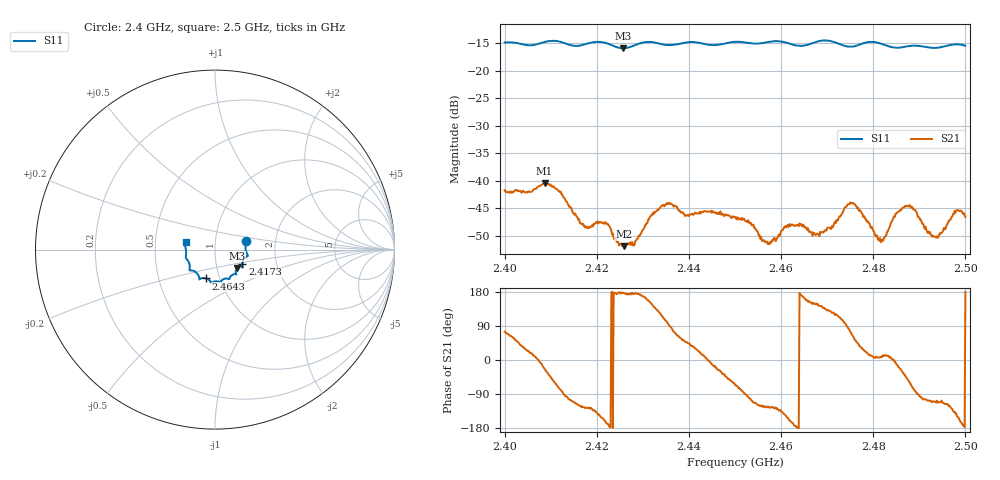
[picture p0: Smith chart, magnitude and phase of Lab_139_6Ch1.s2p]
# Hz S RI R 50
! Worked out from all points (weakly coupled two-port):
!   601 points, 2.4 GHz to 2.5 GHz, reference 50 ohm
!   highest |S21| = -40.48 dB at 2.4087 GHz (marker M1); lowest = -51.9 dB at 2.4258 GHz (marker M2)
!   lowest |S11| = -15.9 dB at 2.4257 GHz (marker M3), VSWR 1.38, Z = 62.4 - j13.1 ohm
!   |S11| at or under -10 dB: start of sweep to end of sweep
!   S12 and S22 are empty: the file has one direction only
!   S11 on the Smith chart (normalised r, x): 2.4 GHz: 1.41, +0.14; 2.4173 GHz: 1.34, -0.23; 2.4643 GHz: 0.86, -0.28; 2.5 GHz: 0.72, +0.06
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2.4e9  0.1735 0.0496  0.00214 0.00793  0 0  0 0
2.408667e9  0.1805 -0.026  0.0087 -0.00371  0 0  0 0
2.412e9  0.18 -0.0364  0.00176 -0.00767  0 0  0 0
2.416667e9  0.1529 -0.0746  -0.00226 -0.00333  0 0  0 0
2.417333e9  0.1524 -0.0821  -0.00224 -0.0032  0 0  0 0
2.422167e9  0.1505 -0.0943  -0.00396 -0.000905  0 0  0 0
2.425667e9  0.1226 -0.1024  -0.00262 0.000102  0 0  0 0
2.425833e9  0.1216 -0.1036  -0.00253 0.000163  0 0  0 0
2.428333e9  0.1153 -0.1266  -0.00279 0.000168  0 0  0 0
2.433333e9  0.1126 -0.1367  -0.00333 0.00425  0 0  0 0
2.45e9  0.0297 -0.1807  0.00198 -0.00425  0 0  0 0
2.457167e9  -0.0146 -0.1815  -0.00152 -0.00216  0 0  0 0
2.464333e9  -0.0502 -0.1604  -0.00398 0.000604  0 0  0 0
2.466667e9  -0.0763 -0.1597  -0.00298 0.00164  0 0  0 0
2.470833e9  -0.0871 -0.1638  -0.00219 0.00289  0 0  0 0
2.475333e9  -0.1098 -0.1238  0.0024 0.00582  0 0  0 0
2.4815e9  -0.1419 -0.1062  0.00298 0.000366  0 0  0 0
2.483333e9  -0.1408 -0.0895  0.00356 0.000674  0 0  0 0
2.487333e9  -0.1574 -0.0545  0.00386 -0.00444  0 0  0 0
2.4935e9  -0.1609 -0.00736  -0.00106 -0.00288  0 0  0 0
2.497833e9  -0.1711 0.0307  -0.0038 -0.00343  0 0  0 0
2.5e9  -0.1637 0.0419  -0.00466 3.14e-06  0 0  0 0
